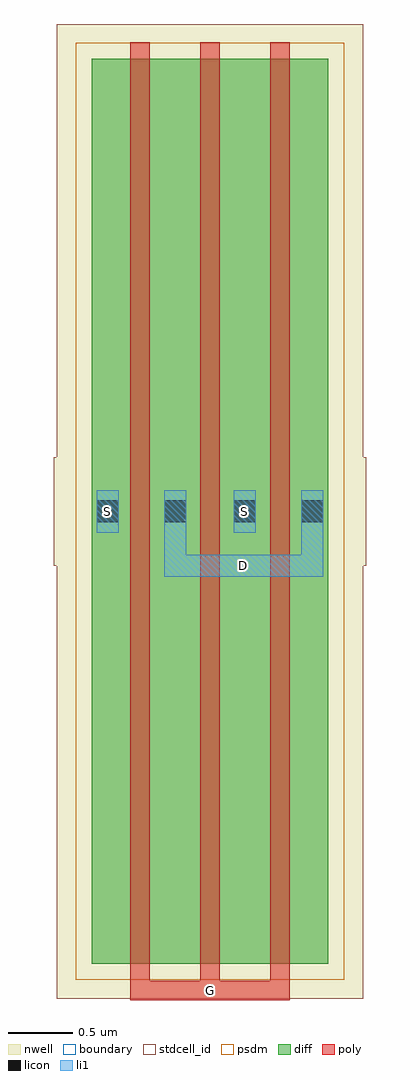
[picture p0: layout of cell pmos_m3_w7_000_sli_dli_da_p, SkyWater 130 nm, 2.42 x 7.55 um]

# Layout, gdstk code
import gdstk
lib = gdstk.Library(unit=1e-6, precision=1e-09)
def R(c, l, rs):  # rectangles x0, y0, x1, y1
    for r in rs: c.add(gdstk.rectangle(r[:2], r[2:], *l))
def A(c, l, x, y, w, h, nx, ny, dx, dy):  # array of equal rectangles
    R(c, l, [(x+i*dx, y+j*dy, x+i*dx+w, y+j*dy+h) for i in range(nx) for j in range(ny)])
nwell = (64, 20)
diff = (65, 20)
poly = (66, 20)
licon = (66, 44)
li1 = (67, 20)
stdcell_id = (81, 4)
psdm = (94, 20)
boundary = (235, 4)

contact_10 = lib.new_cell('contact_10')
R(contact_10, nwell, [(-0.295,-0.255,0.545,0.585)])
R(contact_10, diff, [(0,0.02,0.25,0.31)])
R(contact_10, licon, [(0.04,0.08,0.21,0.25)])
R(contact_10, li1, [(0.04,0,0.21,0.33)])
R(contact_10, stdcell_id, [(-0.295,-0.255,0.545,0.585)])
R(contact_10, psdm, [(-0.125,-0.105,0.375,0.435)])
R(contact_10, boundary, [(-0.295,-0.255,0.545,0.585)])

pmos_m3_w7_000_sli_dli_d = lib.new_cell('pmos_m3_w7_000_sli_dli_da_p')
R(pmos_m3_w7_000_sli_dli_d, nwell, [(-0.27,-0.27,2.1,7.27)])
R(pmos_m3_w7_000_sli_dli_d, diff, [(0,0,1.83,7)])
A(pmos_m3_w7_000_sli_dli_d, poly, 0.3, -0.13, 0.15, 7.26, 3, 1, 0.54, 0)
R(pmos_m3_w7_000_sli_dli_d, poly, [(0.3,-0.28,1.53,-0.13)])
R(pmos_m3_w7_000_sli_dli_d, li1, [(0.56,2.995,1.79,3.165), (0.56,3.08,0.73,3.5), (1.62,3.08,1.79,3.5), (0.04,3.335,0.21,3.665), (1.1,3.335,1.27,3.665), (0.04,3.415,0.21,3.585), (0.56,3.415,0.73,3.585), (1.1,3.415,1.27,3.585), (1.62,3.415,1.79,3.585)])
R(pmos_m3_w7_000_sli_dli_d, stdcell_id, [(-0.27,-0.27,2.1,7.27)])
R(pmos_m3_w7_000_sli_dli_d, psdm, [(-0.125,-0.125,1.955,7.125)])
R(pmos_m3_w7_000_sli_dli_d, boundary, [(-0.27,-0.27,2.1,7.27)])
pmos_m3_w7_000_sli_dli_d.add(gdstk.Reference(contact_10, (0,3.335)))
pmos_m3_w7_000_sli_dli_d.add(gdstk.Reference(contact_10, (0.52,3.335)))
pmos_m3_w7_000_sli_dli_d.add(gdstk.Reference(contact_10, (1.06,3.335)))
pmos_m3_w7_000_sli_dli_d.add(gdstk.Reference(contact_10, (1.58,3.335)))
pmos_m3_w7_000_sli_dli_d.add(gdstk.Label('G', (0.915,-0.205), layer=66, texttype=16))
pmos_m3_w7_000_sli_dli_d.add(gdstk.Label('S', (0.125,3.5), layer=67, texttype=16))
pmos_m3_w7_000_sli_dli_d.add(gdstk.Label('S', (1.185,3.5), layer=67, texttype=16))
pmos_m3_w7_000_sli_dli_d.add(gdstk.Label('D', (1.175,3.08), layer=67, texttype=16))

lib.write_gds('pmos_m3_w7_000_sli_dli_da_p.gds')
